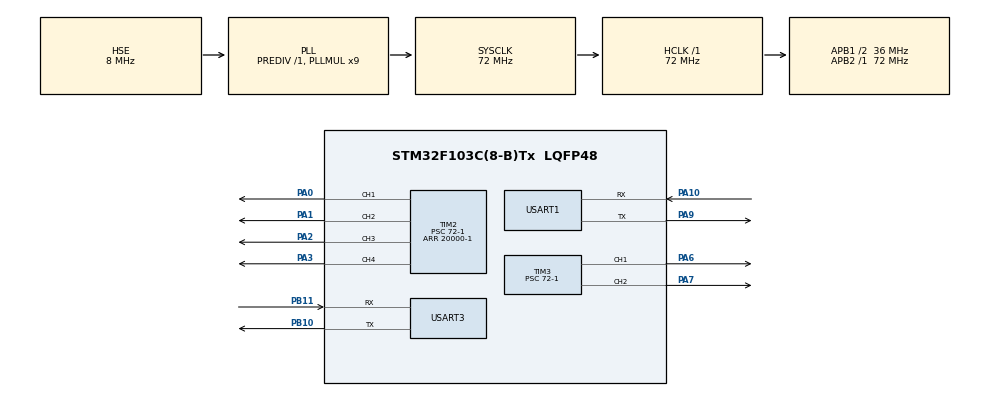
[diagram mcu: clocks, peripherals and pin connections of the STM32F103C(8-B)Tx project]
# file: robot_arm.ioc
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Mcu.Family=STM32F1
Mcu.Name=STM32F103C(8-B)Tx
Mcu.Package=LQFP48
NVIC.PriorityGroup=NVIC_PRIORITYGROUP_4
NVIC.USART1_IRQn=true\:0\:0\:true\:false\:true\:true\:true\:true
PA0-WKUP.Signal=S_TIM2_CH1_ETR
PA1.Signal=S_TIM2_CH2
PA10.Mode=Asynchronous
PA10.Signal=USART1_RX
PA13.Mode=Serial_Wire
PA13.Signal=SYS_JTMS-SWDIO
PA14.Mode=Serial_Wire
PA14.Signal=SYS_JTCK-SWCLK
PA2.Signal=S_TIM2_CH3
PA3.Signal=S_TIM2_CH4
PA6.Signal=S_TIM3_CH1
PA7.Signal=S_TIM3_CH2
PA9.Mode=Asynchronous
PA9.Signal=USART1_TX
PB10.Mode=Asynchronous
PB10.Signal=USART3_TX
PB11.Mode=Asynchronous
PB11.Signal=USART3_RX
PD0-OSC_IN.Mode=HSE-External-Oscillator
PD0-OSC_IN.Signal=RCC_OSC_IN
PD1-OSC_OUT.Mode=HSE-External-Oscillator
PD1-OSC_OUT.Signal=RCC_OSC_OUT
ProjectManager.HeapSize=0x200
ProjectManager.StackSize=0x400
ProjectManager.TargetToolchain=MDK-ARM V5.32
RCC.AHBFreq_Value=72000000
RCC.APB1CLKDivider=RCC_HCLK_DIV2
RCC.APB1Freq_Value=36000000
RCC.APB1TimFreq_Value=72000000
RCC.APB2Freq_Value=72000000
RCC.APB2TimFreq_Value=72000000
RCC.HCLKFreq_Value=72000000
RCC.PLLMUL=RCC_PLL_MUL9
RCC.PLLSourceVirtual=RCC_PLLSOURCE_HSE
RCC.SYSCLKFreq_VALUE=72000000
RCC.SYSCLKSource=RCC_SYSCLKSOURCE_PLLCLK
RCC.USBFreq_Value=72000000
SH.S_TIM2_CH1_ETR.0=TIM2_CH1,PWM Generation1 CH1
SH.S_TIM2_CH2.0=TIM2_CH2,PWM Generation2 CH2
SH.S_TIM2_CH3.0=TIM2_CH3,PWM Generation3 CH3
SH.S_TIM2_CH4.0=TIM2_CH4,PWM Generation4 CH4
SH.S_TIM3_CH1.0=TIM3_CH1,PWM Generation1 CH1
SH.S_TIM3_CH2.0=TIM3_CH2,PWM Generation2 CH2
TIM2.AutoReloadPreload=TIM_AUTORELOAD_PRELOAD_ENABLE
TIM2.Channel-PWM\ Generation1\ CH1=TIM_CHANNEL_1
TIM2.Channel-PWM\ Generation2\ CH2=TIM_CHANNEL_2
TIM2.Channel-PWM\ Generation3\ CH3=TIM_CHANNEL_3
TIM2.Channel-PWM\ Generation4\ CH4=TIM_CHANNEL_4
TIM2.Period=20000-1
TIM2.Prescaler=72-1
TIM3.AutoReloadPreload=TIM_AUTORELOAD_PRELOAD_ENABLE
TIM3.Channel-PWM\ Generation1\ CH1=TIM_CHANNEL_1
TIM3.Channel-PWM\ Generation2\ CH2=TIM_CHANNEL_2
TIM3.Period=20000-1
TIM3.Prescaler=72-1
USART1.VirtualMode=VM_ASYNC
USART3.VirtualMode=VM_ASYNC
VP_TIM2_VS_ClockSourceINT.Mode=Internal
VP_TIM3_VS_ClockSourceINT.Mode=Internal
board=custom

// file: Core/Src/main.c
/* USER CODE BEGIN Header */
/**
  ******************************************************************************
  * @file           : main.c
  * @brief          : Main program body
  ******************************************************************************
  * @attention
  *
  * Copyright (c) 2024 STMicroelectronics.
  * All rights reserved.
  *
  * This software is licensed under terms that can be found in the LICENSE file
  * in the root directory of this software component.
  * If no LICENSE file comes with this software, it is provided AS-IS.
  *
  ******************************************************************************
  */
/* USER CODE END Header */
#include "main.h"
#include "tim.h"
#include "usart.h"
#include "gpio.h"

/* USER CODE BEGIN Includes */
#include "oled.h"
#include "servo.h"
#include "openmv.h"

/* USER CODE END Includes */

/* USER CODE BEGIN PV */
uint8_t usart1_rxbuff;

/* USER CODE END PV */

void SystemClock_Config(void);

int main(void)
{

  /* MCU Configuration--------------------------------------------------------*/

  /* Reset of all peripherals, Initializes the Flash interface and the Systick. */
  HAL_Init();

  /* USER CODE BEGIN Init */
	OLED_Init();
	OLED_Clear();
  /* USER CODE END Init */

  /* Configure the system clock */
  SystemClock_Config();

  /* Initialize all configured peripherals */
  MX_GPIO_Init();
  MX_TIM2_Init();
  MX_TIM3_Init();
  MX_USART1_UART_Init();
  MX_USART3_UART_Init();
  /* USER CODE BEGIN 2 */
	HAL_UART_Receive_IT(&huart1,(void *)&usart1_rxbuff,1);

	robot_arm_init();	// 开启pwm

	servo_reset_begin(); // 复位

  /*
  //仅用于测试
	char tx = 'A';
	HAL_UART_Transmit(&huart3,(uint8_t*)&tx,1,0xFFFF);

  OLED_ShowChar(20,20,'A',OLED_8X16);
  OLED_Update();
  */

  /* USER CODE END 2 */

  /* Infinite loop */
  /* USER CODE
   WHILE */
  while (1)
  {
    if(color_type == 'G')
    {
      task_green();
    }
    else if (color_type == 'B')
    {
      task_blue();
    }
    else
    {
      pwm_out(0,45,45,0,0,0);
    }

    /* USER CODE END WHILE */

  }
}

/**
  * @brief System Cloc-k Configuration
  * @retval None
  */
void SystemClock_Config(void)
{
  RCC_OscInitTypeDef RCC_OscInitStruct = {0};
  RCC_ClkInitTypeDef RCC_ClkInitStruct = {0};

  /** Initializes the RCC Oscillators according to the specified parameters
  * in the RCC_OscInitTypeDef structure.
  */
  RCC_OscInitStruct.OscillatorType = RCC_OSCILLATORTYPE_HSE;
  RCC_OscInitStruct.HSEState = RCC_HSE_ON;
  RCC_OscInitStruct.HSEPredivValue = RCC_HSE_PREDIV_DIV1;
  RCC_OscInitStruct.HSIState = RCC_HSI_ON;
  RCC_OscInitStruct.PLL.PLLState = RCC_PLL_ON;
  RCC_OscInitStruct.PLL.PLLSource = RCC_PLLSOURCE_HSE;
  RCC_OscInitStruct.PLL.PLLMUL = RCC_PLL_MUL9;
  if (HAL_RCC_OscConfig(&RCC_OscInitStruct) != HAL_OK)
  {
    Error_Handler();
  }

  /** Initializes the CPU, AHB and APB buses clocks
  */
  RCC_ClkInitStruct.ClockType = RCC_CLOCKTYPE_HCLK|RCC_CLOCKTYPE_SYSCLK
                              |RCC_CLOCKTYPE_PCLK1|RCC_CLOCKTYPE_PCLK2;
  RCC_ClkInitStruct.SYSCLKSource = RCC_SYSCLKSOURCE_PLLCLK;
  RCC_ClkInitStruct.AHBCLKDivider = RCC_SYSCLK_DIV1;
  RCC_ClkInitStruct.APB1CLKDivider = RCC_HCLK_DIV2;
  RCC_ClkInitStruct.APB2CLKDivider = RCC_HCLK_DIV1;

  if (HAL_RCC_ClockConfig(&RCC_ClkInitStruct, FLASH_LATENCY_2) != HAL_OK)
  {
    Error_Handler();
  }
}

/* USER CODE BEGIN 4 */
void HAL_UART_RxCpltCallback(UART_HandleTypeDef *huart)
{
    uint16_t tempt;/*定义临时变量存放接受的数据*/
    if(huart->Instance == USART1)
    {
        tempt = usart1_rxbuff;

        openmv_receive_data(tempt);
    }
	HAL_UART_Receive_IT(&huart1,(void *)&usart1_rxbuff,1);/*再次开启接收中断*/
}

/* USER CODE END 4 */

void Error_Handler(void)
{
  __disable_irq();
  while (1)
  {
  }
}
